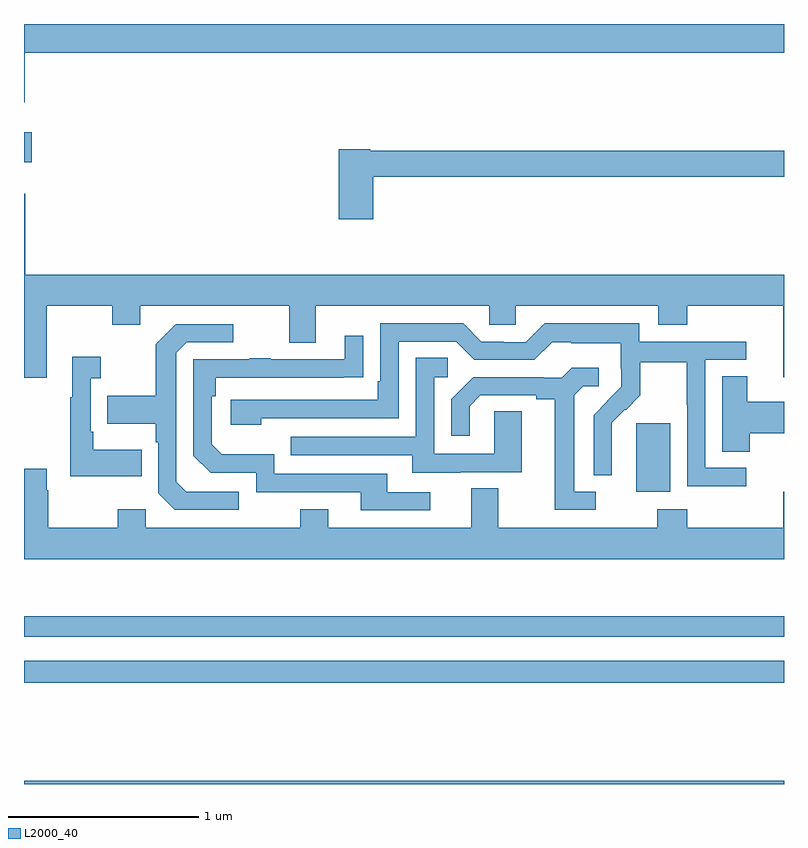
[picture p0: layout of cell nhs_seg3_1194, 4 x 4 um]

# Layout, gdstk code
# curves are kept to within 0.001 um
import gdstk
lib = gdstk.Library(unit=1e-6, precision=1e-09)
def R(c, l, rs):  # rectangles x0, y0, x1, y1
    for r in rs: c.add(gdstk.rectangle(r[:2], r[2:], *l))
def P(c, l, *ps):  # polygons
    for p in ps: c.add(gdstk.Polygon(p, *l))
L2000_40 = (2000, 40)

nhs_seg3_1194 = lib.new_cell('nhs_seg3_1194')
R(nhs_seg3_1194, L2000_40, [(173,698.4,177,698.416), (173,698.932,177,699.048), (173,699.174,177,699.283), (176.222,699.938,176.401,700.299), (173,701.672,173.041,701.83)])
P(nhs_seg3_1194, L2000_40, [(173.003,702.248),(177,702.248),(177,702.4),(173,702.4),(173,701.988),(173.003,701.988)],
  [(174.839,701.596),(177,701.596),(177,701.732),(174.822,701.732),(174.822,701.74),(174.656,701.74),(174.656,701.373),(174.839,701.373)],
  [(173.119,700.916),(173.464,700.916),(173.464,700.817),(173.611,700.817),(173.611,700.916),(174.395,700.916),(174.395,700.722),(174.535,700.722),(174.535,700.916),(175.449,700.916),(175.449,700.818),(175.587,700.818),(175.587,700.916),(176.339,700.916),(176.339,700.817),(176.492,700.817),(176.492,700.916),(176.996,700.916),(176.996,700.542),(177,700.542),(177,701.08),(173.006,701.08),(173.006,701.506),(173,701.506),(173,700.539),(173.119,700.539)],
  [(176.8,700.065),(176.586,700.065),(176.586,700.632),(176.8,700.632),(176.8,700.728),(176.238,700.728),(176.238,700.825),(175.741,700.825),(175.641,700.725),(175.526,700.725),(175.526,700.728),(175.407,700.728),(175.311,700.824),(174.876,700.824),(174.876,700.519),(174.863,700.519),(174.863,700.422),(174.087,700.422),(174.087,700.292),(174.248,700.292),(174.248,700.326),(174.972,700.326),(174.972,700.728),(175.275,700.728),(175.371,700.632),(175.686,700.632),(175.779,700.725),(175.879,700.725),(175.879,700.721),(176.142,700.721),(176.142,700.587),(176.144,700.587),(176.144,700.49),(175.998,700.342),(175.998,700.024),(176.094,700.024),(176.093,700.301),(176.163,700.371),(176.166,700.368),(176.243,700.445),(176.243,700.62),(176.488,700.62),(176.488,700.396),(176.49,700.396),(176.49,699.967),(176.8,699.967)],
  [(174.13,699.939),(173.853,699.939),(173.802,699.99),(173.802,700.671),(173.856,700.725),(174.1,700.725),(174.1,700.821),(173.799,700.821),(173.694,700.715),(173.694,700.443),(173.437,700.443),(173.437,700.295),(173.694,700.295),(173.694,700.199),(173.706,700.199),(173.706,699.93),(173.793,699.843),(174.13,699.843)],
  [(175.138,699.936),(174.913,699.936),(174.913,700.032),(174.318,700.032),(174.318,700.135),(174.041,700.135),(173.988,700.188),(173.988,700.442),(174.008,700.442),(174.008,700.539),(174.785,700.54),(174.785,700.759),(174.689,700.759),(174.689,700.635),(174.299,700.635),(174.299,700.64),(174.187,700.64),(174.187,700.635),(173.892,700.635),(173.892,700.128),(173.982,700.038),(174.222,700.038),(174.222,699.936),(174.773,699.936),(174.773,699.84),(175.138,699.84)],
  [(173.621,700.159),(173.365,700.159),(173.365,700.255),(173.352,700.255),(173.352,700.535),(173.404,700.535),(173.404,700.648),(173.255,700.648),(173.255,700.435),(173.244,700.435),(173.244,700.019),(173.621,700.019)],
  [(175.297,700.041),(175.621,700.041),(175.621,700.361),(175.476,700.361),(175.476,700.137),(175.158,700.137),(175.158,700.542),(175.231,700.542),(175.231,700.643),(175.062,700.643),(175.062,700.227),(174.403,700.227),(174.403,700.131),(175.043,700.131),(175.043,700.037),(175.297,700.037)],
  [(176.008,699.939),(175.897,699.939),(175.897,700.447),(175.944,700.494),(176.026,700.494),(176.026,700.591),(175.882,700.591),(175.83,700.539),(175.736,700.539),(175.736,700.542),(175.364,700.542),(175.248,700.426),(175.248,700.233),(175.345,700.233),(175.345,700.389),(175.402,700.446),(175.697,700.446),(175.697,700.424),(175.793,700.424),(175.793,699.843),(176.008,699.843)],
  [(176.819,700.246),(177,700.246),(177,700.411),(176.806,700.411),(176.806,700.547),(176.675,700.547),(176.675,700.15),(176.819,700.15)],
  [(177,699.937),(176.996,699.937),(176.996,699.748),(176.492,699.748),(176.492,699.847),(176.332,699.847),(176.332,699.748),(175.495,699.748),(175.495,699.956),(175.355,699.956),(175.355,699.748),(174.601,699.748),(174.601,699.847),(174.454,699.847),(174.454,699.748),(173.64,699.748),(173.64,699.847),(173.494,699.847),(173.494,699.748),(173.127,699.748),(173.127,699.947),(173.119,699.947),(173.119,700.06),(173,700.06),(173,699.584),(177,699.584)])

lib.write_gds('nhs_seg3_1194.gds')
